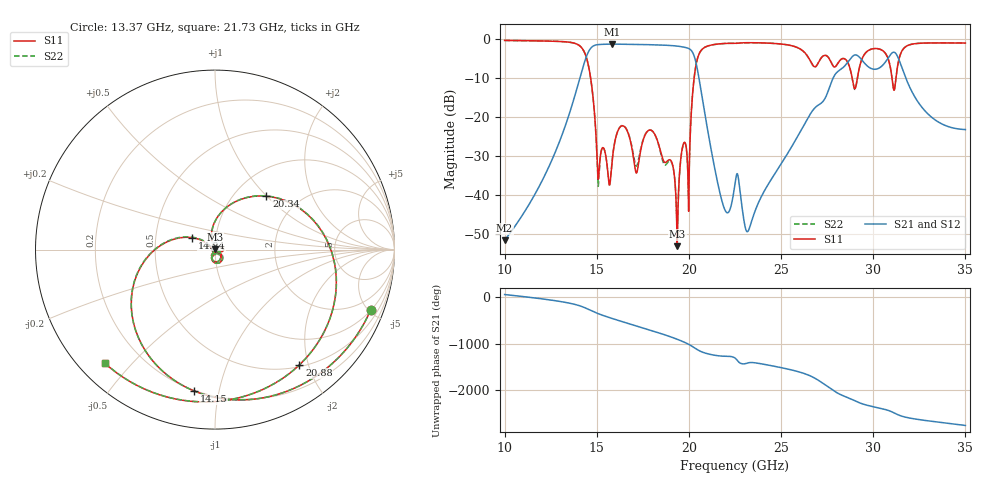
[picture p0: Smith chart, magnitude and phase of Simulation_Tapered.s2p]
! TOUCHSTONE file generated by CST MICROWAVE STUDIO
! Date and time: Tue Oct 16 20:20:04 2018
! Project name: Standard.cst
! Parameters = {Copper_W=0.017; Ex=0.6; Ground_U=31.0095; Ground_V=12.9035; Ground_Wmax=0.228; Ground_Wmin=0.211; K=5.22; Mini_Factor=0.07; S_1=0.05; Substrate_U=31.0095; Substrate_V=12.9035; Substrate_W=0.211; V_Mini=0.21; Via_V_Spacing=0.4; Via_Wmax=0.017; Via_Wmin=0.228; Via_radius=0.15; Width_Va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
! Header version: 2015
! Port assignment regex: !\s*Touchstone port\s*([0-9]+)\s*=\s*CST MWS port\s*([0-9]+)\s*\(\"(.*)\"\)(\s*mode\s*([0-9]+))?.*
! Touchstone port assignment:
! Touchstone port 1 = CST MWS port 1 ("")
! Touchstone port 2 = CST MWS port 2 ("")
# GHz S RI R 50
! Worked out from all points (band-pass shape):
!   5001 points, 10 GHz to 35 GHz, reference 50 ohm
!   highest |S21| = -1.20 dB at 15.82 GHz (marker M1); lowest = -51.6 dB at 10 GHz (marker M2)
!   |S21| within 3 dB of the highest: 14.45 GHz to 20.28 GHz (5.825 GHz wide, 33.5 % of centre); 30.89 GHz to 31.3 GHz (409.4 MHz wide, 1.32 % of centre)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
!   lowest |S11| = -53.2 dB at 19.36 GHz (marker M3), VSWR 1.00, Z = 49.8 + j0.142 ohm
!   |S11| at or under -10 dB: 14.67 GHz to 20.28 GHz (5.61 GHz wide, 32.1 % of centre); 28.86 GHz to 29.14 GHz (276.8 MHz wide, 0.955 % of centre); 31.02 GHz to 31.23 GHz (211.9 MHz wide, 0.681 % of centre)
!   |S22| runs from -48.7 to -0.3 dB; largest |S21 - S12| = 0.001
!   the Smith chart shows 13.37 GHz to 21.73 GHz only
!   S11 on the Smith chart (normalised r, x): 13.37 GHz: 1.03, -5.13; 14.15 GHz: 0.20, -0.84; 14.84 GHz: 0.77, +0.10; 20.34 GHz: 1.39, +1.00; 20.88 GHz: 0.53, -1.85; 21.73 GHz: 0.07, -0.42
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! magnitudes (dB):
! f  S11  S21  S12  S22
! 10 GHz  -0.3  -51.6  -51.6  -0.3
! 13.37 GHz  -0.6  -21.2  -21.2  -0.6
! 14.15 GHz  -2.0  -8.7  -8.7  -2.0
! 14.17 GHz  -2.1  -8.4  -8.4  -2.1
! 14.84 GHz  -16.9  -1.6  -1.6  -17.0
! 15.09 GHz  -35.9  -1.3  -1.3  -37.5
! 15.82 GHz  -31.8  -1.2  -1.2  -31.9
! 16.34 GHz  -22.2  -1.2  -1.2  -22.2
! 17.14 GHz  -34.4  -1.3  -1.3  -32.6
! 18.34 GHz  -26.6  -1.4  -1.4  -26.8
! 19.36 GHz  -53.2  -1.7  -1.7  -48.7
! 19.68 GHz  -27.2  -1.9  -1.9  -27.4
! 20 GHz  -41.0  -2.3  -2.3  -38.4
! 20.34 GHz  -7.7  -5.2  -5.2  -7.7
! 20.88 GHz  -2.0  -19.4  -19.4  -2.0
! 21.73 GHz  -1.1  -40.5  -40.5  -1.1
! 22.5 GHz  -1.0  -37.1  -37.1  -1.0
! 23.21 GHz  -0.8  -49.3  -49.2  -0.8
! 26.67 GHz  -6.2  -18.6  -18.6  -6.3
! 28.91 GHz  -11.3  -4.2  -4.2  -11.4
! 30.84 GHz  -5.3  -4.6  -4.6  -5.3
! 35 GHz  -0.9  -23.2  -23.2  -0.9
